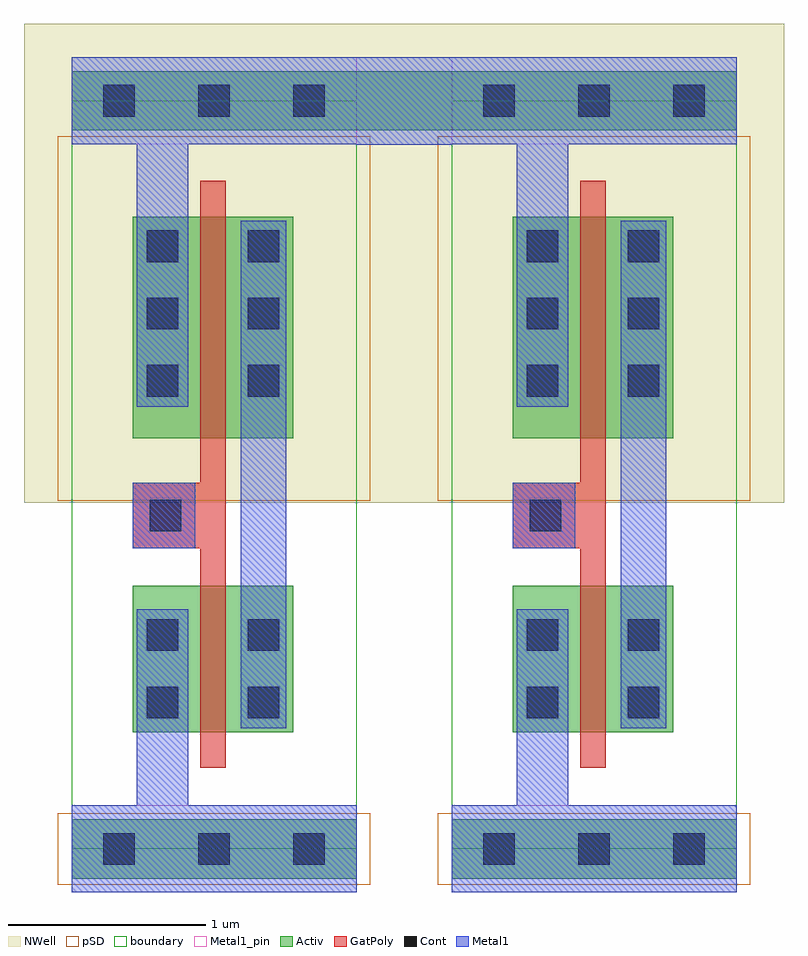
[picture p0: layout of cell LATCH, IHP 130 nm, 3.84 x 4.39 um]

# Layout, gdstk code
import gdstk
lib = gdstk.Library(unit=1e-6, precision=1e-09)
def R(c, l, rs):  # rectangles x0, y0, x1, y1
    for r in rs: c.add(gdstk.rectangle(r[:2], r[2:], *l))
def A(c, l, x, y, w, h, nx, ny, dx, dy):  # array of equal rectangles
    R(c, l, [(x+i*dx, y+j*dy, x+i*dx+w, y+j*dy+h) for i in range(nx) for j in range(ny)])
def P(c, l, *ps):  # polygons
    for p in ps: c.add(gdstk.Polygon(p, *l))
Activ = (1, 0)
GatPoly = (5, 0)
Cont = (6, 0)
Metal1 = (8, 0)
Metal1_pin = (8, 2)
pSD = (14, 0)
NWell = (31, 0)
boundary = (189, 4)

sg13g2_inv_1 = lib.new_cell('sg13g2_inv_1')
R(sg13g2_inv_1, Activ, [(3.733,1.363,5.173,1.663), (4.043,2.103,4.853,2.843), (4.043,3.588,4.853,4.708), (3.733,5.143,5.173,5.443)])
P(sg13g2_inv_1, GatPoly, [(4.383,1.923),(4.383,3.033),(4.043,3.033),(4.043,3.363),(4.383,3.363),(4.383,4.888),(4.513,4.888),(4.513,1.923)])
A(sg13g2_inv_1, Cont, 4.113, 3.798, 0.16, 0.16, 1, 3, 0, 0.34)
A(sg13g2_inv_1, Cont, 4.623, 3.798, 0.16, 0.16, 1, 3, 0, 0.34)
R(sg13g2_inv_1, Cont, [(3.893,1.433,4.053,1.593), (3.893,1.433,4.053,1.593), (4.373,1.433,4.533,1.593), (4.373,1.433,4.533,1.593), (4.853,1.433,5.013,1.593), (4.853,1.433,5.013,1.593), (4.113,2.173,4.273,2.333), (4.623,2.173,4.783,2.333), (4.113,2.513,4.273,2.673), (4.623,2.513,4.783,2.673), (4.128,3.118,4.288,3.278), (3.893,5.213,4.053,5.373), (3.893,5.213,4.053,5.373), (4.373,5.213,4.533,5.373), (4.373,5.213,4.533,5.373), (4.853,5.213,5.013,5.373), (4.853,5.213,5.013,5.373)])
R(sg13g2_inv_1, Metal1, [(4.588,2.123,4.818,4.688), (4.043,3.033,4.358,3.363)])
P(sg13g2_inv_1, Metal1, [(4.063,3.748),(4.063,5.073),(3.733,5.073),(3.733,5.513),(5.173,5.513),(5.173,5.073),(4.323,5.073),(4.323,3.748)],
  [(3.733,1.293),(3.733,1.733),(4.063,1.733),(4.063,2.723),(4.323,2.723),(4.323,1.733),(5.173,1.733),(5.173,1.293)])
R(sg13g2_inv_1, Metal1_pin, [(3.733,1.293,5.173,1.733), (4.588,2.123,4.818,4.688), (4.043,3.033,4.358,3.363), (3.733,5.073,5.173,5.513)])
R(sg13g2_inv_1, pSD, [(3.663,1.333,5.243,1.693), (3.663,3.273,5.243,5.113)])
R(sg13g2_inv_1, NWell, [(3.493,3.263,5.413,5.683)])
R(sg13g2_inv_1, boundary, [(3.733,1.513,5.173,5.293)])
sg13g2_inv_1.add(gdstk.Label('Y', (4.713,3.203), layer=8, texttype=25))
sg13g2_inv_1.add(gdstk.Label('A', (4.213,3.193), layer=8, texttype=25))
sg13g2_inv_1.add(gdstk.Label('VSS', (4.453,1.493), layer=8, texttype=25))
sg13g2_inv_1.add(gdstk.Label('VDD', (4.438,5.293), layer=8, texttype=25))

latch = lib.new_cell('LATCH')
R(latch, Activ, [(7.781,7.751,8.263,8.051)])
R(latch, Metal1, [(7.781,7.68,8.263,8.121)])
latch.add(gdstk.Reference(sg13g2_inv_1, (2.608,2.608)))
latch.add(gdstk.Reference(sg13g2_inv_1, (4.528,2.608)))

lib.write_gds('LATCH.gds')
